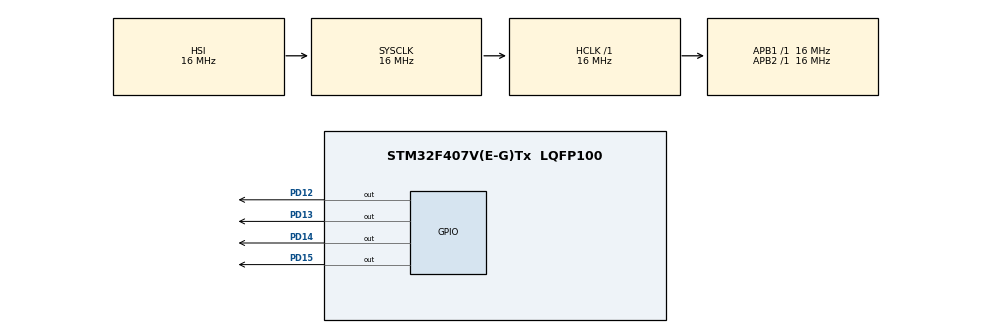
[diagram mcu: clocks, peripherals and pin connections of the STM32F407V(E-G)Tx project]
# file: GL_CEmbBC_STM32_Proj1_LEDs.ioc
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Mcu.Family=STM32F4
Mcu.Name=STM32F407V(E-G)Tx
Mcu.Package=LQFP100
NVIC.PriorityGroup=NVIC_PRIORITYGROUP_4
PD12.Signal=GPIO_Output
PD13.Signal=GPIO_Output
PD14.Signal=GPIO_Output
PD15.Signal=GPIO_Output
ProjectManager.HeapSize=0x200
ProjectManager.StackSize=0x400
ProjectManager.TargetToolchain=STM32CubeIDE
RCC.AHBFreq_Value=16000000
RCC.APB1Freq_Value=16000000
RCC.APB2Freq_Value=16000000
RCC.CortexFreq_Value=16000000
RCC.HSE_VALUE=25000000
RCC.HSI_VALUE=16000000
RCC.LSE_VALUE=32768
RCC.SYSCLKFreq_VALUE=16000000
RCC.VCOOutputFreq_Value=192000000
board=custom

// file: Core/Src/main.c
/* USER CODE BEGIN Header */
/**
  ******************************************************************************
  * @file           : main.c
  * @brief          : Main program body
  ******************************************************************************
  * @attention
  *
  * <h2><center>&copy; Copyright (c) 2021 STMicroelectronics.
  * All rights reserved.</center></h2>
  *
  * This software component is licensed by ST under BSD 3-Clause license,
  * the "License"; You may not use this file except in compliance with the
  * License. You may obtain a copy of the License at:
  *                        opensource.org/licenses/BSD-3-Clause
  *
  ******************************************************************************
  */
/* USER CODE END Header */
#include "main.h"

/* USER CODE BEGIN PV */

const static uint16_t delay = 1000;
const static uint16_t orange_delay = 1500;

/* USER CODE END PV */

void SystemClock_Config(void);
static void MX_GPIO_Init(void);

int main(void)
{

  /* MCU Configuration--------------------------------------------------------*/

  /* Reset of all peripherals, Initializes the Flash interface and the Systick. */
  HAL_Init();

  /* Configure the system clock */
  SystemClock_Config();

  /* Initialize all configured peripherals */
  MX_GPIO_Init();
  /* USER CODE BEGIN 2 */

  HAL_GPIO_WritePin(GPIOD, GPIO_PIN_15, GPIO_PIN_SET);		/* Blue on */
  HAL_Delay(3 * delay);
  HAL_GPIO_WritePin(GPIOD, GPIO_PIN_15, GPIO_PIN_RESET);	/* Blue off */

  // note: blue  = 	GPIOD_PIN_15
  // note: red = 	GPIOD_PIN_14
  // note: orange = GPIOD_PIN_13
  // note: green = 	GPIOD_PIN_12

  /* USER CODE END 2 */

  /* Infinite loop */
  /* USER CODE BEGIN WHILE */
  while (1)
  {

	HAL_GPIO_WritePin(GPIOD, GPIO_PIN_14, GPIO_PIN_SET);	// red on
	HAL_Delay(delay);
	HAL_GPIO_WritePin(GPIOD, GPIO_PIN_13, GPIO_PIN_SET);	// orange on
	HAL_Delay(orange_delay);
	HAL_GPIO_WritePin(GPIOD, GPIO_PIN_14, GPIO_PIN_RESET);	// red off
	HAL_GPIO_WritePin(GPIOD, GPIO_PIN_13, GPIO_PIN_RESET);	// orange off
	HAL_GPIO_WritePin(GPIOD, GPIO_PIN_12, GPIO_PIN_SET);	// green on
	HAL_Delay(delay);
	HAL_GPIO_WritePin(GPIOD, GPIO_PIN_12, GPIO_PIN_RESET);	// green off
	HAL_GPIO_WritePin(GPIOD, GPIO_PIN_13, GPIO_PIN_SET);	// orange on
	HAL_Delay(orange_delay);
	HAL_GPIO_WritePin(GPIOD, GPIO_PIN_13, GPIO_PIN_RESET);	// orange off

    /* USER CODE END WHILE */

  }
}

void SystemClock_Config(void)
{
  RCC_OscInitTypeDef RCC_OscInitStruct = {0};
  RCC_ClkInitTypeDef RCC_ClkInitStruct = {0};

  /** Configure the main internal regulator output voltage
  */
  __HAL_RCC_PWR_CLK_ENABLE();
  __HAL_PWR_VOLTAGESCALING_CONFIG(PWR_REGULATOR_VOLTAGE_SCALE1);
  /** Initializes the RCC Oscillators according to the specified parameters
  * in the RCC_OscInitTypeDef structure.
  */
  RCC_OscInitStruct.OscillatorType = RCC_OSCILLATORTYPE_HSI;
  RCC_OscInitStruct.HSIState = RCC_HSI_ON;
  RCC_OscInitStruct.HSICalibrationValue = RCC_HSICALIBRATION_DEFAULT;
  RCC_OscInitStruct.PLL.PLLState = RCC_PLL_NONE;
  if (HAL_RCC_OscConfig(&RCC_OscInitStruct) != HAL_OK)
  {
    Error_Handler();
  }
  /** Initializes the CPU, AHB and APB buses clocks
  */
  RCC_ClkInitStruct.ClockType = RCC_CLOCKTYPE_HCLK|RCC_CLOCKTYPE_SYSCLK
                              |RCC_CLOCKTYPE_PCLK1|RCC_CLOCKTYPE_PCLK2;
  RCC_ClkInitStruct.SYSCLKSource = RCC_SYSCLKSOURCE_HSI;
  RCC_ClkInitStruct.AHBCLKDivider = RCC_SYSCLK_DIV1;
  RCC_ClkInitStruct.APB1CLKDivider = RCC_HCLK_DIV1;
  RCC_ClkInitStruct.APB2CLKDivider = RCC_HCLK_DIV1;

  if (HAL_RCC_ClockConfig(&RCC_ClkInitStruct, FLASH_LATENCY_0) != HAL_OK)
  {
    Error_Handler();
  }
}

static void MX_GPIO_Init(void)
{
  GPIO_InitTypeDef GPIO_InitStruct = {0};

  /* GPIO Ports Clock Enable */
  __HAL_RCC_GPIOD_CLK_ENABLE();

  /*Configure GPIO pin Output Level */
  HAL_GPIO_WritePin(GPIOD, GPIO_PIN_12|GPIO_PIN_13|GPIO_PIN_14|GPIO_PIN_15, GPIO_PIN_RESET);

  /*Configure GPIO pins : PD12 PD13 PD14 PD15 */
  GPIO_InitStruct.Pin = GPIO_PIN_12|GPIO_PIN_13|GPIO_PIN_14|GPIO_PIN_15;
  GPIO_InitStruct.Mode = GPIO_MODE_OUTPUT_PP;
  GPIO_InitStruct.Pull = GPIO_NOPULL;
  GPIO_InitStruct.Speed = GPIO_SPEED_FREQ_LOW;
  HAL_GPIO_Init(GPIOD, &GPIO_InitStruct);

}

void Error_Handler(void)
{
  __disable_irq();
  while (1)
  {
  }
}

/************************ (C) COPYRIGHT STMicroelectronics *****END OF FILE****/
